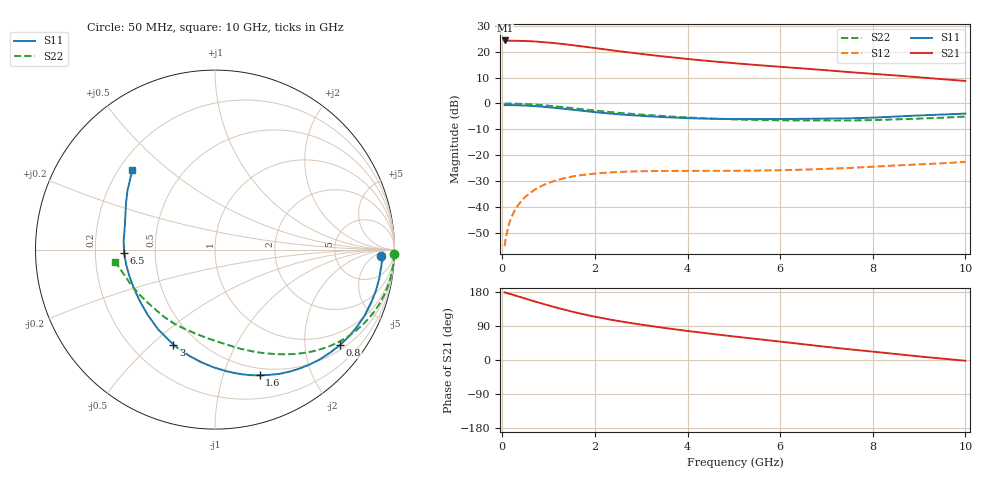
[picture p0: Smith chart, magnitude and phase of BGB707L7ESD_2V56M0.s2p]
! (c) 2009  Infineon Technologies AG, Munich
!  Infineon Technologies AG
!  BGB707L7ESD RU919007 w#7 Sample Build #08493 Teil Nr. 3
!  Vce = 2.5V, Ic = 6.0mA
!  DATUM: 30.06.2009 10:16:54
# GHz  S  MA  R  50
!f  S11  S21  S12  S22
!GHz  Mag  Ang  Mag  Ang  Mag  Ang  Mag  Ang
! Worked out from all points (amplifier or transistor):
!   52 points, 50 MHz to 10 GHz, reference 50 ohm
!   highest |S21| = 24.3 dB at 60 MHz (marker M1)
!   |S21| within 3 dB of that: start of sweep to 2.027 GHz
!   unconditionally stable (mu >= 1): 6.032 GHz to 9.938 GHz
!   at 130 MHz: K = -0.01, MSG = 35.8 dB, |S12| = -47.4 dB
!   at 1.4 GHz: K = 0.18, MSG = 25.7 dB, |S12| = -28.6 dB
!   at 10 GHz: K = 0.99, MSG = 15.6 dB, |S12| = -22.5 dB
!   lowest NFmin = 0.45 dB at 100 MHz
!   S11 on the Smith chart (normalised r, x): 50 MHz: 22, -11; 800 MHz: 0.62, -2.83; 1.6 GHz: 0.42, -1.33; 3 GHz: 0.37, -0.59; 6.5 GHz: 0.33, -0.02; 10 GHz: 0.25, +0.38
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0.05  0.9283 -2.1  16.13 178.3  0.001771 90.6  0.998 -1.3
0.06  0.9373 -3.0  16.43 178.0  0.002075 85.5  0.9982 -1.7
0.08  0.9301 -3.7  16.15 177.0  0.002558 84.8  0.9985 -2.4
0.09  0.935 -4.3  16.28 177.3  0.002963 87.5  0.9983 -2.7
0.1  0.9303 -4.9  16.19 176.4  0.003074 86.7  0.9977 -3.0
0.2  0.9294 -9.6  16.26 173.2  0.006466 85.1  0.9948 -6.2
0.45  0.9141 -21.3  16.09 163.8  0.01437 77.5  0.9793 -13.9
0.8  0.8761 -37.4  15.46 151.0  0.02436 67.6  0.9376 -24.3
1  0.8461 -46.1  14.95 144.0  0.02933 62.4  0.9061 -29.9
1.2  0.8129 -54.7  14.35 137.2  0.03358 57.5  0.8712 -35.1
1.6  0.7432 -70.5  13.03 124.9  0.04019 49.1  0.7988 -44.6
1.8  0.7114 -77.7  12.38 119.5  0.04258 45.5  0.764 -48.8
2  0.6809 -84.6  11.71 114.3  0.04449 42.4  0.7316 -52.7
2.4  0.6314 -97.1  10.51 105.1  0.04713 37.3  0.6751 -59.6
3  0.5778 -113.6  9.032 93.4  0.04932 32.0  0.6106 -68.8
3.5  0.5455 -125.7  8.039 84.6  0.05004 29.3  0.5704 -75.6
4.5  0.5073 -145.7  6.544 69.3  0.05031 27.3  0.513 -88.4
5.5  0.4994 -162.9  5.512 55.3  0.0508 28.7  0.481 -102.6
6.5  0.5068 -177.8  4.733 41.6  0.05297 32.0  0.4714 -118.0
7  0.5111 174.5  4.371 34.6  0.05477 33.6  0.47 -126.2
8.5  0.5597 152.4  3.47 15.8  0.06381 36.7  0.4931 -150.7
10  0.6383 136.2  2.722 -2.0  0.07467 37.1  0.5596 -172.9
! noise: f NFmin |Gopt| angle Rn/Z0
0.1  0.45  0.46  2  0.18
0.45  0.53  0.46  4  0.18
0.9  0.61  0.47  12  0.18
1.8  0.63  0.4  33  0.17
5  0.92  0.31  70  0.16
10  1.53  0.4  -131  0.13
